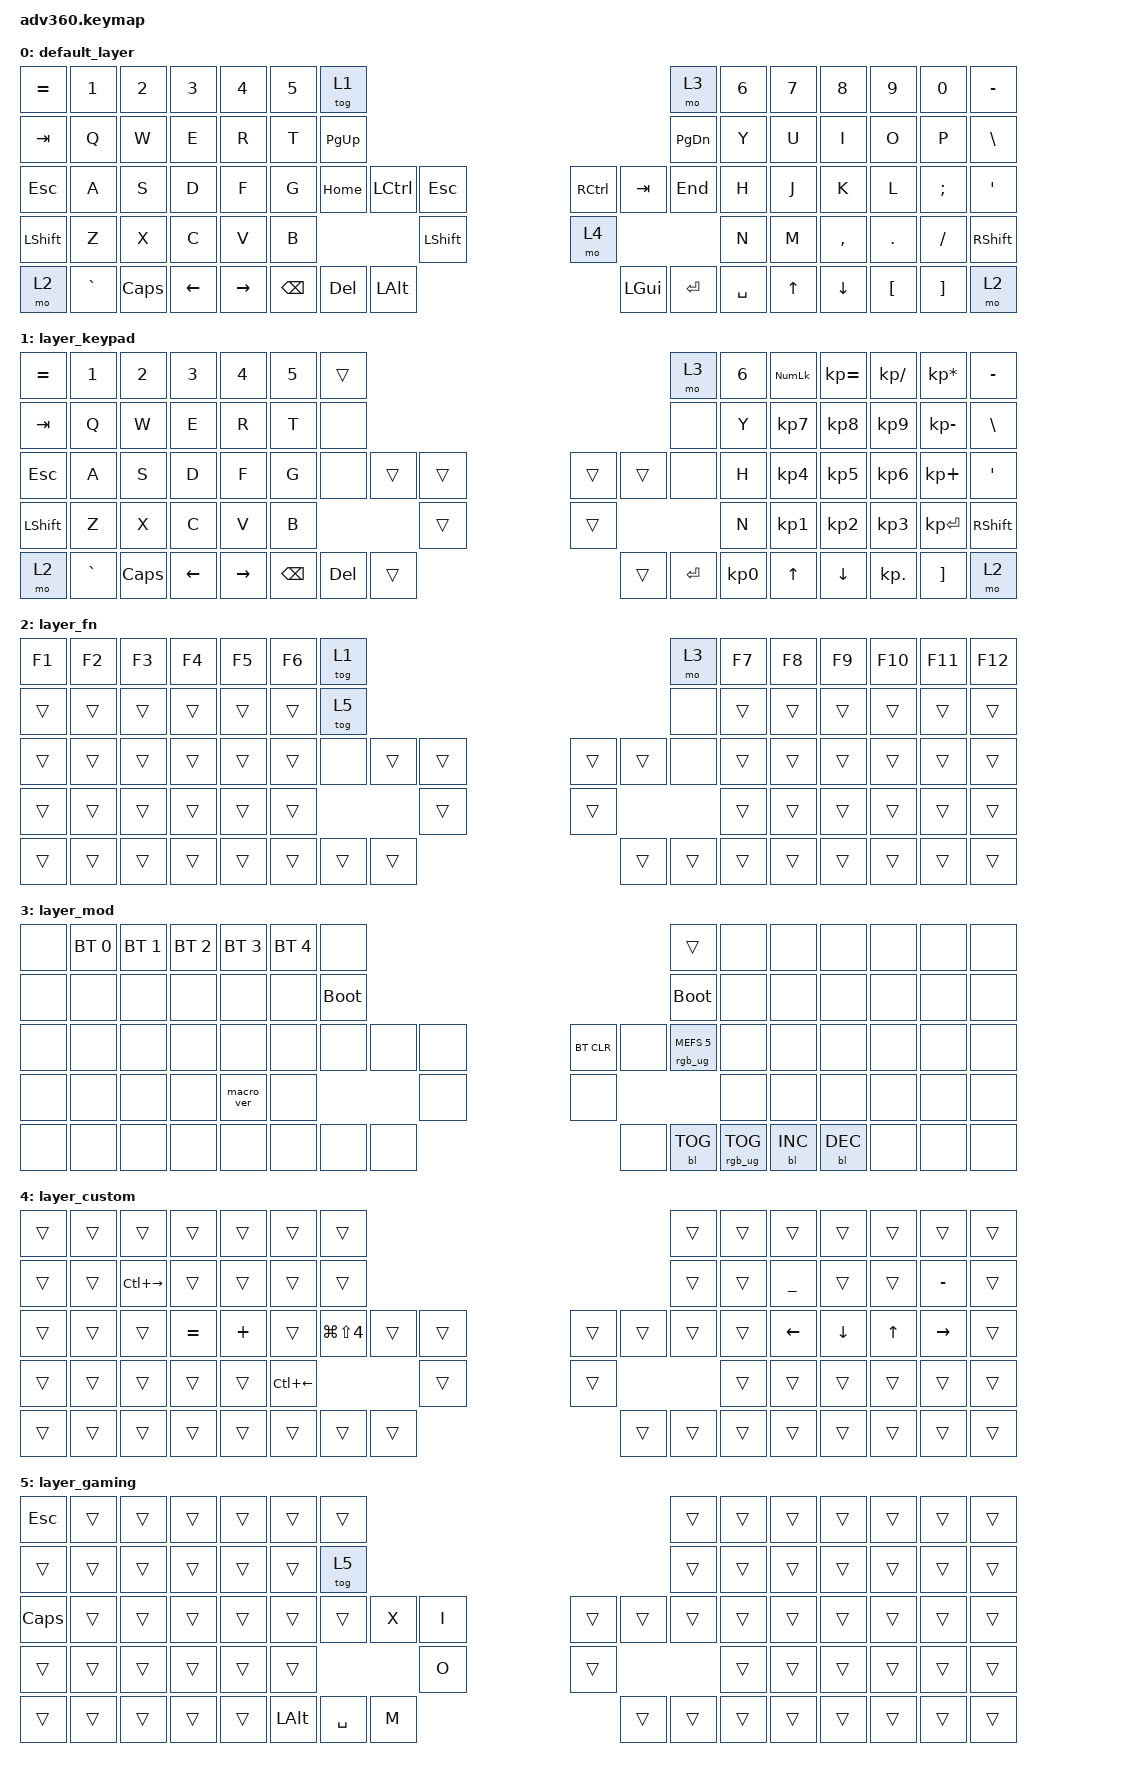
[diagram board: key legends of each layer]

/*
 * Copyright (c) 2020 The ZMK Contributors
 *
 * SPDX-License-Identifier: MIT
 */


/* THIS FILE WAS GENERATED!
 *
 * This file was generated automatically. You may or may not want to
 * edit it directly.
 */

#include <behaviors.dtsi>
#include <dt-bindings/zmk/keys.h>
#include <dt-bindings/zmk/bt.h>
#include <dt-bindings/zmk/rgb.h>
#include <dt-bindings/zmk/backlight.h>

/ {
  behaviors {
    #include "macros.dtsi"
    #include "version.dtsi"

    hm: homerow_mods {
        compatible = "zmk,behavior-hold-tap";
        label = "HOMEROW_MODS";
        #binding-cells = <2>;
        tapping-term-ms = <200>;
        quick_tap_ms = <175>;
        flavor = "tap-preferred";
        bindings = <&kp>, <&kp>;
    };
  };

    keymap {
        compatible = "zmk,keymap";


        default_layer {
            bindings = <
 &kp EQUAL     &kp N1    &kp N2    &kp N3     &kp N4  &kp N5               &tog 1                                                                  &mo 3  &kp N6  &kp N7     &kp N8    &kp N9    &kp N0  &kp MINUS
   &kp TAB      &kp Q     &kp W     &kp E      &kp R   &kp T            &kp PG_UP                                                              &kp PG_DN   &kp Y   &kp U      &kp I     &kp O     &kp P   &kp BSLH
   &kp ESC      &kp A     &kp S     &kp D      &kp F   &kp G             &kp HOME  &kp LCTRL    &kp ESC                  &kp RCTRL    &kp TAB    &kp END   &kp H   &kp J      &kp K     &kp L  &kp SEMI    &kp SQT
 &kp LSHFT      &kp Z     &kp X     &kp C      &kp V   &kp B                                  &kp LSHFT                      &mo 4                         &kp N   &kp M  &kp COMMA   &kp DOT  &kp FSLH  &kp RSHFT
     &mo 2  &kp GRAVE  &kp CAPS  &kp LEFT  &kp RIGHT                     &kp BSPC    &kp DEL   &kp LALT                   &kp LGUI  &kp ENTER  &kp SPACE          &kp UP   &kp DOWN  &kp LBKT  &kp RBKT      &mo 2
            >;
        };

        layer_keypad {
            bindings = <
 &kp EQUAL     &kp N1    &kp N2    &kp N3     &kp N4  &kp N5              &trans                                                          &mo 3  &kp N6  &kp KP_NUM  &kp KP_EQUAL  &kp KP_DIVIDE  &kp KP_MULTIPLY  &kp MINUS
   &kp TAB      &kp Q     &kp W     &kp E      &kp R   &kp T               &none                                                          &none   &kp Y   &kp KP_N7     &kp KP_N8      &kp KP_N9     &kp KP_MINUS   &kp BSLH
   &kp ESC      &kp A     &kp S     &kp D      &kp F   &kp G               &none   &trans  &trans                  &trans     &trans      &none   &kp H   &kp KP_N4     &kp KP_N5      &kp KP_N6      &kp KP_PLUS    &kp SQT
 &kp LSHFT      &kp Z     &kp X     &kp C      &kp V   &kp B                               &trans                  &trans                         &kp N   &kp KP_N1     &kp KP_N2      &kp KP_N3     &kp KP_ENTER  &kp RSHFT
     &mo 2  &kp GRAVE  &kp CAPS  &kp LEFT  &kp RIGHT                    &kp BSPC  &kp DEL  &trans                  &trans  &kp ENTER  &kp KP_N0              &kp UP      &kp DOWN     &kp KP_DOT         &kp RBKT      &mo 2
            >;
        };

        layer_fn {
            bindings = <
 &kp F1  &kp F2  &kp F3  &kp F4  &kp F5  &kp F6            &tog 1                                                   &mo 3  &kp F7  &kp F8  &kp F9  &kp F10  &kp F11  &kp F12
 &trans  &trans  &trans  &trans  &trans  &trans            &tog 5                                                   &none  &trans  &trans  &trans   &trans   &trans   &trans
 &trans  &trans  &trans  &trans  &trans  &trans             &none  &trans  &trans                  &trans  &trans   &none  &trans  &trans  &trans   &trans   &trans   &trans
 &trans  &trans  &trans  &trans  &trans  &trans                            &trans                  &trans                  &trans  &trans  &trans   &trans   &trans   &trans
 &trans  &trans  &trans  &trans  &trans                    &trans  &trans  &trans                  &trans  &trans  &trans          &trans  &trans   &trans   &trans   &trans
            >;
        };

        layer_mod {
            bindings = <
  &none  &bt BT_SEL 0  &bt BT_SEL 1  &bt BT_SEL 2  &bt BT_SEL 3  &bt BT_SEL 4                  &none                                                                          &trans   &none       &none       &none   &none   &none   &none
  &none         &none         &none         &none         &none         &none            &bootloader                                                                     &bootloader   &none       &none       &none   &none   &none   &none
  &none         &none         &none         &none         &none         &none                  &none   &none   &none                  &bt BT_CLR       &none  &rgb_ug RGB_MEFS_CMD 5   &none       &none       &none   &none   &none   &none
  &none         &none         &none         &none    &macro_ver         &none                                  &none                       &none                                       &none       &none       &none   &none   &none   &none
  &none         &none         &none         &none         &none                                &none   &none   &none                       &none  &bl BL_TOG         &rgb_ug RGB_TOG          &bl BL_INC  &bl BL_DEC   &none   &none   &none
            >;
        };

        layer_custom {
            bindings = <
 &trans  &trans               &trans     &trans    &trans              &trans                          &trans                                                  &trans  &trans          &trans          &trans        &trans           &trans  &trans
 &trans  &trans  &kp LC(RIGHT_ARROW)     &trans    &trans              &trans                          &trans                                                  &trans  &trans  &kp UNDERSCORE          &trans        &trans        &kp MINUS  &trans
 &trans  &trans               &trans  &kp EQUAL  &kp PLUS              &trans            &kp LG(LS(NUMBER_4))  &trans  &trans                  &trans  &trans  &trans  &trans  &kp LEFT_ARROW  &kp DOWN_ARROW  &kp UP_ARROW  &kp RIGHT_ARROW  &trans
 &trans  &trans               &trans     &trans    &trans  &kp LC(LEFT_ARROW)                                          &trans                  &trans                  &trans          &trans          &trans        &trans           &trans  &trans
 &trans  &trans               &trans     &trans    &trans                                              &trans  &trans  &trans                  &trans  &trans  &trans                  &trans          &trans        &trans           &trans  &trans
            >;
        };

        layer_gaming {
            bindings = <
  &kp ESC  &trans  &trans  &trans  &trans  &trans              &trans                                                     &trans  &trans  &trans  &trans  &trans  &trans  &trans
   &trans  &trans  &trans  &trans  &trans  &trans              &tog 5                                                     &trans  &trans  &trans  &trans  &trans  &trans  &trans
 &kp CAPS  &trans  &trans  &trans  &trans  &trans              &trans      &kp X   &kp I                  &trans  &trans  &trans  &trans  &trans  &trans  &trans  &trans  &trans
   &trans  &trans  &trans  &trans  &trans  &trans                                  &kp O                  &trans                  &trans  &trans  &trans  &trans  &trans  &trans
   &trans  &trans  &trans  &trans  &trans                    &kp LALT  &kp SPACE   &kp M                  &trans  &trans  &trans          &trans  &trans  &trans  &trans  &trans
            >;
        };

    };
};
